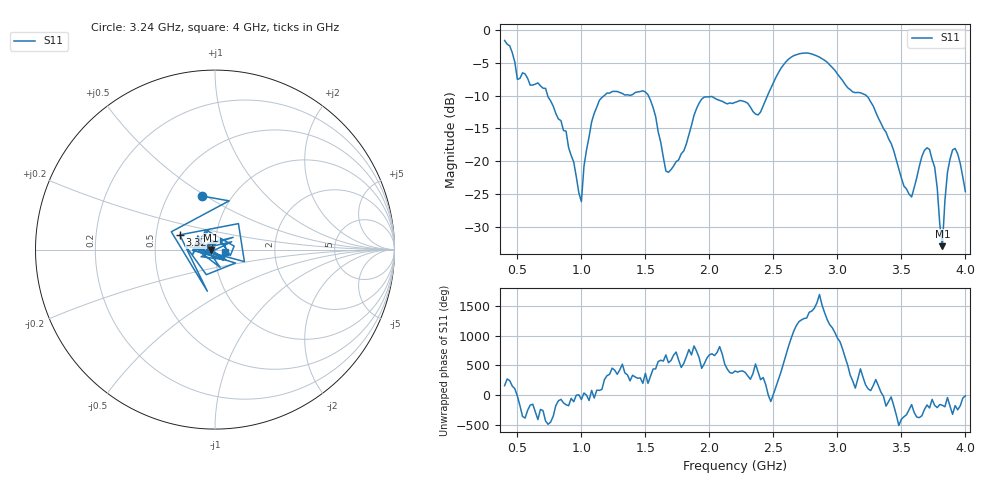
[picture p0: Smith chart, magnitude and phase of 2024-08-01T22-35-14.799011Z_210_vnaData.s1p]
!Created with skrf (http://scikit-rf.org).
# Hz S RI R 50.0
!freq ReS11 ImS11
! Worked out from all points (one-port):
!   181 points, 400 MHz to 4 GHz, reference 50 ohm
!   lowest |S11| = -33.0 dB at 3.82 GHz (marker M1), VSWR 1.05, Z = 47.8 - j0.25 ohm
!   |S11| at or under -10 dB: 736.4 MHz to 1.18 GHz (443.4 MHz wide, 46.3 % of centre); 1.523 GHz to 2.454 GHz (931.2 MHz wide, 46.8 % of centre); 3.225 GHz to end of sweep
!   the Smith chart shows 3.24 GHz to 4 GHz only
!   S11 on the Smith chart (normalised r, x): 3.24 GHz: 0.73, +0.48; 3.32 GHz: 0.66, +0.11; 4 GHz: 1.12, -0.03
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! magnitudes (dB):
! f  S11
! 400 MHz  -1.6
! 460 MHz  -3.5
! 500 MHz  -7.6
! 720 MHz  -8.9
! 860 MHz  -15.3
! 1 GHz  -26.2
! 1.02 GHz  -20.8
! 1.1 GHz  -12.7
! 1.3 GHz  -9.5
! 1.52 GHz  -9.9
! 1.66 GHz  -21.5
! 1.76 GHz  -19.8
! 1.94 GHz  -10.5
! 2.2 GHz  -11.1
! 2.38 GHz  -13.0
! 2.66 GHz  -3.9
! 2.86 GHz  -4.2
! 3.1 GHz  -9.1
! 3.24 GHz  -10.3
! 3.32 GHz  -13.4
! 3.56 GHz  -25.0
! 3.72 GHz  -18.2
! 3.76 GHz  -20.9
! 3.82 GHz  -33.0
! 3.86 GHz  -21.7
! 3.9 GHz  -18.3
! 3.94 GHz  -18.9
! 4 GHz  -24.6
